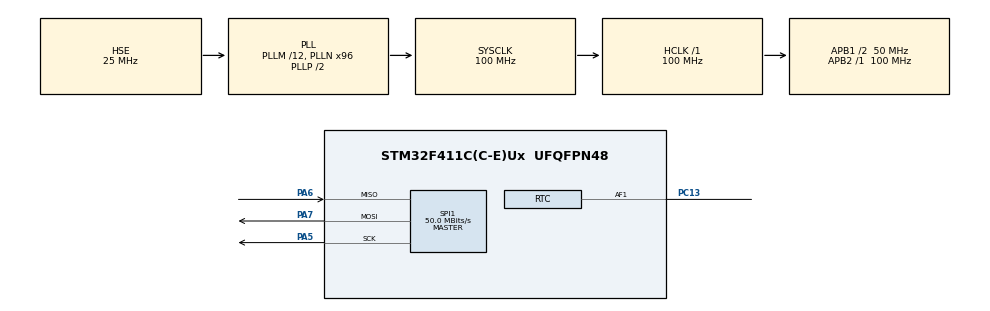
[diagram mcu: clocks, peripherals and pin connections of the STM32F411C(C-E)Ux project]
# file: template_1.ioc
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Dma.Request0=SPI1_RX
Dma.Request1=SPI1_TX
Dma.SPI1_RX.0.Direction=DMA_PERIPH_TO_MEMORY
Dma.SPI1_RX.0.FIFOMode=DMA_FIFOMODE_DISABLE
Dma.SPI1_RX.0.Instance=DMA2_Stream0
Dma.SPI1_RX.0.MemDataAlignment=DMA_MDATAALIGN_BYTE
Dma.SPI1_RX.0.MemInc=DMA_MINC_ENABLE
Dma.SPI1_RX.0.Mode=DMA_CIRCULAR
Dma.SPI1_RX.0.PeriphDataAlignment=DMA_PDATAALIGN_BYTE
Dma.SPI1_RX.0.PeriphInc=DMA_PINC_DISABLE
Dma.SPI1_RX.0.Priority=DMA_PRIORITY_VERY_HIGH
Dma.SPI1_TX.1.Direction=DMA_MEMORY_TO_PERIPH
Dma.SPI1_TX.1.FIFOMode=DMA_FIFOMODE_DISABLE
Dma.SPI1_TX.1.Instance=DMA2_Stream2
Dma.SPI1_TX.1.MemDataAlignment=DMA_MDATAALIGN_BYTE
Dma.SPI1_TX.1.MemInc=DMA_MINC_ENABLE
Dma.SPI1_TX.1.Mode=DMA_CIRCULAR
Dma.SPI1_TX.1.PeriphDataAlignment=DMA_PDATAALIGN_BYTE
Dma.SPI1_TX.1.PeriphInc=DMA_PINC_DISABLE
Dma.SPI1_TX.1.Priority=DMA_PRIORITY_MEDIUM
FREERTOS.Queues01=m_input_to_log,1,uint32_t,0,Dynamic,NULL,NULL;m_log_to_output,1,uint32_t,0,Dynamic,NULL,NULL;m_output_to_input,1,uint32_t,0,Dynamic,NULL,NULL
FREERTOS.Tasks01=t_input,32,128,start_t_input,Default,NULL,Dynamic,NULL,NULL;t_log,24,128,start_t_log,Default,NULL,Dynamic,NULL,NULL;t_output,24,128,start_t_output,Default,NULL,Dynamic,NULL,NULL
Mcu.Family=STM32F4
Mcu.Name=STM32F411C(C-E)Ux
Mcu.Package=UFQFPN48
NVIC.DMA2_Stream0_IRQn=true\:5\:0\:false\:false\:true\:true\:false\:true\:true
NVIC.DMA2_Stream2_IRQn=true\:5\:0\:false\:false\:true\:true\:false\:true\:true
NVIC.PriorityGroup=NVIC_PRIORITYGROUP_4
NVIC.SPI1_IRQn=true\:5\:0\:false\:false\:true\:true\:true\:true\:true
NVIC.TIM1_UP_TIM10_IRQn=true\:15\:0\:false\:false\:true\:false\:false\:true\:true
NVIC.TimeBase=TIM1_UP_TIM10_IRQn
NVIC.TimeBaseIP=TIM10
PA13.Mode=Serial_Wire
PA13.Signal=SYS_JTMS-SWDIO
PA14.Mode=Serial_Wire
PA14.Signal=SYS_JTCK-SWCLK
PA5.Mode=Full_Duplex_Master
PA5.Signal=SPI1_SCK
PA6.Mode=Full_Duplex_Master
PA6.Signal=SPI1_MISO
PA7.Mode=Full_Duplex_Master
PA7.Signal=SPI1_MOSI
PC13-ANTI_TAMP.Mode=WakeUpAF1
PC13-ANTI_TAMP.Signal=RTC_AF1
PC14-OSC32_IN.Mode=LSE-External-Oscillator
PC14-OSC32_IN.Signal=RCC_OSC32_IN
PC15-OSC32_OUT.Mode=LSE-External-Oscillator
PC15-OSC32_OUT.Signal=RCC_OSC32_OUT
PH0\ -\ OSC_IN.Mode=HSE-External-Oscillator
PH0\ -\ OSC_IN.Signal=RCC_OSC_IN
PH1\ -\ OSC_OUT.Mode=HSE-External-Oscillator
PH1\ -\ OSC_OUT.Signal=RCC_OSC_OUT
ProjectManager.HeapSize=0x200
ProjectManager.StackSize=0x400
ProjectManager.TargetToolchain=MDK-ARM V5.32
RCC.48MHZClocksFreq_Value=50000000
RCC.AHBFreq_Value=100000000
RCC.APB1CLKDivider=RCC_HCLK_DIV2
RCC.APB1Freq_Value=50000000
RCC.APB1TimFreq_Value=100000000
RCC.APB2Freq_Value=100000000
RCC.APB2TimFreq_Value=100000000
RCC.CortexFreq_Value=100000000
RCC.HCLKFreq_Value=100000000
RCC.HSE_VALUE=25000000
RCC.HSI_VALUE=16000000
RCC.PLLM=12
RCC.PLLN=96
RCC.PLLSourceVirtual=RCC_PLLSOURCE_HSE
RCC.RCC_RTC_Clock_Source=RCC_RTCCLKSOURCE_LSE
RCC.RCC_RTC_Clock_SourceVirtual=RCC_RTCCLKSOURCE_LSE
RCC.SYSCLKFreq_VALUE=100000000
RCC.SYSCLKSource=RCC_SYSCLKSOURCE_PLLCLK
RCC.VCOOutputFreq_Value=200000000
RTC.Format=RTC_FORMAT_BIN
RTC.OutPutPolarity=RTC_OUTPUT_POLARITY_LOW
RTC.WakeUpClock=RTC_WAKEUPCLOCK_CK_SPRE_16BITS
SPI1.CalculateBaudRate=50.0 MBits/s
SPI1.Direction=SPI_DIRECTION_2LINES
SPI1.Mode=SPI_MODE_MASTER
SPI1.VirtualType=VM_MASTER
VP_FREERTOS_VS_CMSIS_V2.Mode=CMSIS_V2
VP_RTC_VS_RTC_Activate.Mode=RTC_Enabled
VP_SYS_VS_tim10.Mode=TIM10
board=custom

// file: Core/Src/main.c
/* USER CODE BEGIN Header */
/**
  ******************************************************************************
  * @file           : main.c
  * @brief          : Main program body
  ******************************************************************************
  * @attention
  *
  * Copyright (c) 2024 STMicroelectronics.
  * All rights reserved.
  *
  * This software is licensed under terms that can be found in the LICENSE file
  * in the root directory of this software component.
  * If no LICENSE file comes with this software, it is provided AS-IS.
  *
  ******************************************************************************
  */
/* USER CODE END Header */
#include "main.h"
#include "cmsis_os.h"
#include "dma.h"
#include "rtc.h"
#include "spi.h"
#include "gpio.h"

/* USER CODE BEGIN Includes */
//#include <cm_backtrace.h>
/* USER CODE END Includes */

/* USER CODE BEGIN PD */
#define HARDWARE_VERSION "V1.0.0"
#define SOFTWARE_VERSION "V0.1.0"
/* USER CODE END PD */

void SystemClock_Config(void);
void MX_FREERTOS_Init(void);

int main(void)
{

  /* MCU Configuration--------------------------------------------------------*/

  /* Reset of all peripherals, Initializes the Flash interface and the Systick. */
  HAL_Init();

  /* USER CODE BEGIN Init */
  SEGGER_RTT_Init();
  elog_init();

  elog_set_fmt(ELOG_LVL_ASSERT, ELOG_FMT_ALL & ~ELOG_FMT_P_INFO);
  elog_set_fmt(ELOG_LVL_ERROR, ELOG_FMT_LVL | ELOG_FMT_TAG | ELOG_FMT_TIME);
  elog_set_fmt(ELOG_LVL_WARN, ELOG_FMT_LVL | ELOG_FMT_TAG | ELOG_FMT_TIME);
  elog_set_fmt(ELOG_LVL_INFO, ELOG_FMT_LVL | ELOG_FMT_TAG | ELOG_FMT_TIME);
  elog_set_fmt(ELOG_LVL_DEBUG, ELOG_FMT_ALL & ~(ELOG_FMT_FUNC | ELOG_FMT_P_INFO));
  elog_set_fmt(ELOG_LVL_VERBOSE, ELOG_FMT_ALL & ~(ELOG_FMT_FUNC | ELOG_FMT_P_INFO));

  elog_start();

  SEGGER_RTT_printf(0, "Secquence Start. \n");
  /* USER CODE END Init */

  /* Configure the system clock */
  SystemClock_Config();

  /* Initialize all configured peripherals */
  MX_GPIO_Init();
  MX_DMA_Init();
  MX_RTC_Init();
  MX_SPI1_Init();
  /* USER CODE BEGIN 2 */
  //cm_backtrace_init("CmBacktrace", HARDWARE_VERSION, SOFTWARE_VERSION);
  /* USER CODE END 2 */

  /* Init scheduler */
  osKernelInitialize();

  /* Call init function for freertos objects (in cmsis_os2.c) */
  MX_FREERTOS_Init();

  /* Start scheduler */
  osKernelStart();

  /* We should never get here as control is now taken by the scheduler */

  /* Infinite loop */
  while (1)
  {

  }
}

void SystemClock_Config(void)
{
  RCC_OscInitTypeDef RCC_OscInitStruct = {0};
  RCC_ClkInitTypeDef RCC_ClkInitStruct = {0};

  /** Configure the main internal regulator output voltage
  */
  __HAL_RCC_PWR_CLK_ENABLE();
  __HAL_PWR_VOLTAGESCALING_CONFIG(PWR_REGULATOR_VOLTAGE_SCALE1);

  /** Initializes the RCC Oscillators according to the specified parameters
  * in the RCC_OscInitTypeDef structure.
  */
  RCC_OscInitStruct.OscillatorType = RCC_OSCILLATORTYPE_HSE|RCC_OSCILLATORTYPE_LSE;
  RCC_OscInitStruct.HSEState = RCC_HSE_ON;
  RCC_OscInitStruct.LSEState = RCC_LSE_ON;
  RCC_OscInitStruct.PLL.PLLState = RCC_PLL_ON;
  RCC_OscInitStruct.PLL.PLLSource = RCC_PLLSOURCE_HSE;
  RCC_OscInitStruct.PLL.PLLM = 12;
  RCC_OscInitStruct.PLL.PLLN = 96;
  RCC_OscInitStruct.PLL.PLLP = RCC_PLLP_DIV2;
  RCC_OscInitStruct.PLL.PLLQ = 4;
  if (HAL_RCC_OscConfig(&RCC_OscInitStruct) != HAL_OK)
  {
    Error_Handler();
  }

  /** Initializes the CPU, AHB and APB buses clocks
  */
  RCC_ClkInitStruct.ClockType = RCC_CLOCKTYPE_HCLK|RCC_CLOCKTYPE_SYSCLK
                              |RCC_CLOCKTYPE_PCLK1|RCC_CLOCKTYPE_PCLK2;
  RCC_ClkInitStruct.SYSCLKSource = RCC_SYSCLKSOURCE_PLLCLK;
  RCC_ClkInitStruct.AHBCLKDivider = RCC_SYSCLK_DIV1;
  RCC_ClkInitStruct.APB1CLKDivider = RCC_HCLK_DIV2;
  RCC_ClkInitStruct.APB2CLKDivider = RCC_HCLK_DIV1;

  if (HAL_RCC_ClockConfig(&RCC_ClkInitStruct, FLASH_LATENCY_3) != HAL_OK)
  {
    Error_Handler();
  }
}

void HAL_TIM_PeriodElapsedCallback(TIM_HandleTypeDef *htim)
{
  if (htim->Instance == TIM10) {
    HAL_IncTick();
  }
}

void Error_Handler(void)
{
  __disable_irq();
  while (1)
  {
  }
}

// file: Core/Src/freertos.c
/* USER CODE BEGIN Header */
/**
  ******************************************************************************
  * File Name          : freertos.c
  * Description        : Code for freertos applications
  ******************************************************************************
  * @attention
  *
  * Copyright (c) 2024 STMicroelectronics.
  * All rights reserved.
  *
  * This software is licensed under terms that can be found in the LICENSE file
  * in the root directory of this software component.
  * If no LICENSE file comes with this software, it is provided AS-IS.
  *
  ******************************************************************************
  */
/* USER CODE END Header */

#include "FreeRTOS.h"
#include "task.h"
#include "main.h"
#include "cmsis_os.h"

/* USER CODE BEGIN Includes */
#include "self.h"
/* USER CODE END Includes */

/* Definitions for t_input */
osThreadId_t t_inputHandle;
const osThreadAttr_t t_input_attributes = {
  .name = "t_input",
  .stack_size = 128 * 4,
  .priority = (osPriority_t) osPriorityAboveNormal,
};
/* Definitions for t_log */
osThreadId_t t_logHandle;
const osThreadAttr_t t_log_attributes = {
  .name = "t_log",
  .stack_size = 128 * 4,
  .priority = (osPriority_t) osPriorityNormal,
};
/* Definitions for t_output */
osThreadId_t t_outputHandle;
const osThreadAttr_t t_output_attributes = {
  .name = "t_output",
  .stack_size = 128 * 4,
  .priority = (osPriority_t) osPriorityNormal,
};
/* Definitions for m_input_to_log */
osMessageQueueId_t m_input_to_logHandle;
const osMessageQueueAttr_t m_input_to_log_attributes = {
  .name = "m_input_to_log"
};
/* Definitions for m_log_to_output */
osMessageQueueId_t m_log_to_outputHandle;
const osMessageQueueAttr_t m_log_to_output_attributes = {
  .name = "m_log_to_output"
};
/* Definitions for m_output_to_input */
osMessageQueueId_t m_output_to_inputHandle;
const osMessageQueueAttr_t m_output_to_input_attributes = {
  .name = "m_output_to_input"
};

void start_t_input(void *argument);
void start_t_log(void *argument);
void start_t_output(void *argument);

void MX_FREERTOS_Init(void); /* (MISRA C 2004 rule 8.1) */

void MX_FREERTOS_Init(void) {

  /* Create the queue(s) */
  /* creation of m_input_to_log */
  m_input_to_logHandle = osMessageQueueNew (1, sizeof(uint32_t), &m_input_to_log_attributes);

  /* creation of m_log_to_output */
  m_log_to_outputHandle = osMessageQueueNew (1, sizeof(uint32_t), &m_log_to_output_attributes);

  /* creation of m_output_to_input */
  m_output_to_inputHandle = osMessageQueueNew (1, sizeof(uint32_t), &m_output_to_input_attributes);

  /* Create the thread(s) */
  /* creation of t_input */
  t_inputHandle = osThreadNew(start_t_input, NULL, &t_input_attributes);

  /* creation of t_log */
  t_logHandle = osThreadNew(start_t_log, NULL, &t_log_attributes);

  /* creation of t_output */
  t_outputHandle = osThreadNew(start_t_output, NULL, &t_output_attributes);

}

void start_t_input(void *argument)
{
  /* USER CODE BEGIN start_t_input */
  /* Infinite loop */
  for(;;)
  {
    vTaskDelay(998);
  }
  /* USER CODE END start_t_input */
}

void start_t_log(void *argument)
{
  /* USER CODE BEGIN start_t_log */

  test_unity();
  /* Infinite loop */
  for(;;)
  {
    test_elogger();
  }
  /* USER CODE END start_t_log */
}

void start_t_output(void *argument)
{
  /* USER CODE BEGIN start_t_output */
  /* Infinite loop */
  for(;;)
  {
    vTaskDelay(1998);
  }
  /* USER CODE END start_t_output */
}
